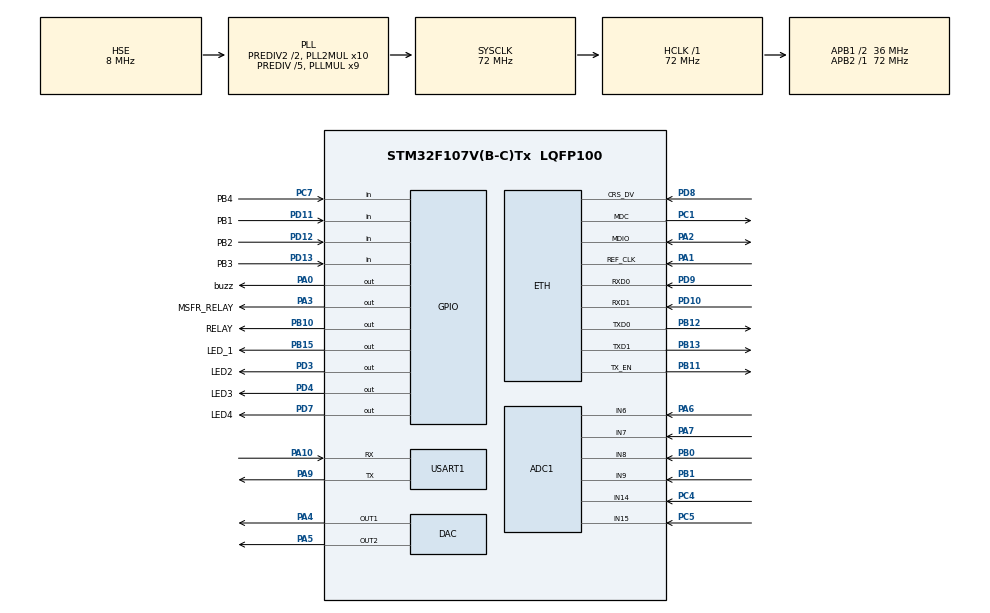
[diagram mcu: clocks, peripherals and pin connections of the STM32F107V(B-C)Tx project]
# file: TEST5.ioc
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ADC1.Channel-0\#ChannelRegularConversion=ADC_CHANNEL_6
ADC1.Channel-1\#ChannelRegularConversion=ADC_CHANNEL_7
ADC1.Channel-2\#ChannelRegularConversion=ADC_CHANNEL_14
ADC1.Channel-3\#ChannelRegularConversion=ADC_CHANNEL_15
ADC1.Channel-4\#ChannelRegularConversion=ADC_CHANNEL_8
ADC1.Channel-5\#ChannelRegularConversion=ADC_CHANNEL_9
ADC1.NbrOfConversion=6
ADC1.NbrOfConversionFlag=1
ADC1.Rank-0\#ChannelRegularConversion=1
ADC1.Rank-1\#ChannelRegularConversion=2
ADC1.Rank-2\#ChannelRegularConversion=3
ADC1.Rank-3\#ChannelRegularConversion=4
ADC1.Rank-4\#ChannelRegularConversion=5
ADC1.Rank-5\#ChannelRegularConversion=6
ADC1.SamplingTime-0\#ChannelRegularConversion=ADC_SAMPLETIME_55CYCLES_5
ADC1.SamplingTime-1\#ChannelRegularConversion=ADC_SAMPLETIME_55CYCLES_5
ADC1.SamplingTime-2\#ChannelRegularConversion=ADC_SAMPLETIME_55CYCLES_5
ADC1.SamplingTime-3\#ChannelRegularConversion=ADC_SAMPLETIME_55CYCLES_5
ADC1.SamplingTime-4\#ChannelRegularConversion=ADC_SAMPLETIME_55CYCLES_5
ADC1.SamplingTime-5\#ChannelRegularConversion=ADC_SAMPLETIME_55CYCLES_5
ADC1.master=1
ETH.MediaInterface=ETH_MEDIA_INTERFACE_RMII
ETH.PHY_Name_RMII=DP83848_PHY_ADDRESS
ETH.PhyAddress=0
LWIP.GATEWAY_ADDRESS=192.168.001.001
LWIP.IP_ADDRESS=192.168.001.054
LWIP.LWIP_DHCP=0
LWIP.NETMASK_ADDRESS=255.255.255.000
LWIP.Version=v2.0.3_Cube
Mcu.Family=STM32F1
Mcu.Name=STM32F107V(B-C)Tx
Mcu.Package=LQFP100
NVIC.PriorityGroup=NVIC_PRIORITYGROUP_4
OSC_IN.Mode=HSE-External-Oscillator
OSC_IN.Signal=RCC_OSC_IN
OSC_OUT.Mode=HSE-External-Oscillator
OSC_OUT.Signal=RCC_OSC_OUT
PA0-WKUP.GPIO_Label=buzz
PA0-WKUP.Signal=GPIO_Output
PA1.Mode=RMII
PA1.Signal=ETH_REF_CLK
PA10.Mode=Asynchronous
PA10.Signal=USART1_RX
PA13.Mode=Serial_Wire
PA13.Signal=SYS_JTMS-SWDIO
PA14.Mode=Serial_Wire
PA14.Signal=SYS_JTCK-SWCLK
PA2.Mode=RMII
PA2.Signal=ETH_MDIO
PA3.GPIO_Label=MSFR_RELAY
PA3.Signal=GPIO_Output
PA4.Signal=COMP_DAC1_group
PA5.Signal=COMP_DAC2_group
PA6.Signal=ADCx_IN6
PA7.Signal=ADCx_IN7
PA9.Mode=Asynchronous
PA9.Signal=USART1_TX
PB0.Signal=ADCx_IN8
PB1.Signal=ADCx_IN9
PB10.GPIO_Label=RELAY
PB10.Signal=GPIO_Output
PB11.Mode=RMII
PB11.Signal=ETH_TX_EN
PB12.Mode=RMII
PB12.Signal=ETH_TXD0
PB13.Mode=RMII
PB13.Signal=ETH_TXD1
PB15.GPIO_Label=LED_1
PB15.GPIO_ModeDefaultOutputPP=GPIO_MODE_OUTPUT_PP
PB15.GPIO_PuPd=GPIO_NOPULL
PB15.GPIO_Speed=GPIO_SPEED_FREQ_LOW
PB15.PinState=GPIO_PIN_RESET
PB15.Signal=GPIO_Output
PC1.Mode=RMII
PC1.Signal=ETH_MDC
PC4.Signal=ADCx_IN14
PC5.Signal=ADCx_IN15
PC7.GPIO_Label=PB4
PC7.GPIO_Mode=GPIO_MODE_INPUT
PC7.GPIO_PuPd=GPIO_NOPULL
PC7.Signal=GPIO_Input
PD10.Mode=RMII
PD10.Signal=ETH_RXD1
PD11.GPIO_Label=PB1
PD11.GPIO_Mode=GPIO_MODE_INPUT
PD11.GPIO_PuPd=GPIO_NOPULL
PD11.Signal=GPIO_Input
PD12.GPIO_Label=PB2
PD12.GPIO_Mode=GPIO_MODE_INPUT
PD12.GPIO_PuPd=GPIO_NOPULL
PD12.Signal=GPIO_Input
PD13.GPIO_Label=PB3
PD13.GPIO_Mode=GPIO_MODE_INPUT
PD13.GPIO_PuPd=GPIO_NOPULL
PD13.Signal=GPIO_Input
PD3.GPIO_Label=LED2
PD3.GPIO_ModeDefaultOutputPP=GPIO_MODE_OUTPUT_PP
PD3.GPIO_PuPd=GPIO_NOPULL
PD3.GPIO_Speed=GPIO_SPEED_FREQ_LOW
PD3.PinState=GPIO_PIN_RESET
PD3.Signal=GPIO_Output
PD4.GPIO_Label=LED3
PD4.GPIO_ModeDefaultOutputPP=GPIO_MODE_OUTPUT_PP
PD4.GPIO_PuPd=GPIO_NOPULL
PD4.GPIO_Speed=GPIO_SPEED_FREQ_LOW
PD4.PinState=GPIO_PIN_RESET
PD4.Signal=GPIO_Output
PD7.GPIO_Label=LED4
PD7.GPIO_ModeDefaultOutputPP=GPIO_MODE_OUTPUT_PP
PD7.GPIO_PuPd=GPIO_NOPULL
PD7.GPIO_Speed=GPIO_SPEED_FREQ_LOW
PD7.PinState=GPIO_PIN_RESET
PD7.Signal=GPIO_Output
PD8.Mode=RMII
PD8.Signal=ETH_CRS_DV
PD9.Mode=RMII
PD9.Signal=ETH_RXD0
ProjectManager.HeapSize=0x400
ProjectManager.StackSize=0x400
ProjectManager.TargetToolchain=STM32CubeIDE
RCC.ADCPresc=RCC_ADCPCLK2_DIV6
RCC.AHBFreq_Value=72000000
RCC.APB1CLKDivider=RCC_HCLK_DIV2
RCC.APB1Freq_Value=36000000
RCC.APB1TimFreq_Value=72000000
RCC.APB2Freq_Value=72000000
RCC.APB2TimFreq_Value=72000000
RCC.EnbaleCSS=true
RCC.HCLKFreq_Value=72000000
RCC.HSEDivPLL=RCC_HSE_PREDIV_DIV5
RCC.PLL2Mul=RCC_PLL2_MUL10
RCC.PLLMUL=RCC_PLL_MUL9
RCC.PLLSourceVirtual=RCC_PLLSOURCE_HSE
RCC.Prediv1Source=RCC_PREDIV1_SOURCE_PLL2
RCC.Prediv2=RCC_HSE_PREDIV2_DIV2
RCC.SYSCLKFreq_VALUE=72000000
RCC.SYSCLKSource=RCC_SYSCLKSOURCE_PLLCLK
RCC.USBFreq_Value=48000000
SH.ADCx_IN14.0=ADC1_IN14,IN14
SH.ADCx_IN15.0=ADC1_IN15,IN15
SH.ADCx_IN6.0=ADC1_IN6,IN6
SH.ADCx_IN7.0=ADC1_IN7,IN7
SH.ADCx_IN8.0=ADC1_IN8,IN8
SH.ADCx_IN9.0=ADC1_IN9,IN9
SH.COMP_DAC1_group.0=DAC_OUT1,DAC_OUT1
SH.COMP_DAC2_group.0=DAC_OUT2,DAC_OUT2
USART1.VirtualMode=VM_ASYNC
VP_LWIP_VS_Enabled.Mode=Enabled
board=custom

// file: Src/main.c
/* USER CODE BEGIN Header */
/**
  ******************************************************************************
  * @file           : main.c
  * @brief          : Main program body
  ******************************************************************************
  * @attention
  *
  * <h2><center>&copy; Copyright (c) 2020 STMicroelectronics.
  * All rights reserved.</center></h2>
  *
  * This software component is licensed by ST under Ultimate Liberty license
  * SLA0044, the "License"; You may not use this file except in compliance with
  * the License. You may obtain a copy of the License at:
  *                             www.st.com/SLA0044
  *
  ******************************************************************************
  */
/* USER CODE END Header */
#include "main.h"
#include "adc.h"
#include "dac.h"
#include "lwip.h"
#include "usart.h"
#include "gpio.h"

/* USER CODE BEGIN Includes */
#include "tcp.h"
#include "string.h"
#include "stdbool.h"

uint16_t k=0 ,i=0,j=0,j1=0;
bool _even;
bool flag_run_loop = false;
bool flag_exit_loop = false;
uint16_t xs = 0;
uint16_t xe = 0;
uint16_t ys = 0;
uint16_t ye = 0;
uint16_t sx = 0;
uint16_t sy = 0;
uint16_t dly = 0;
uint16_t loop = 0;

/* USER CODE END Includes */

/* USER CODE BEGIN PD */
#define KEYDEBOUNCE  	20
#define MAXDATALEN 		10
#define LED1_ON  			'1'
#define LED2_ON				'2'
#define LED3_ON				'3'
#define LED4_ON				'4'
#define LED1_OFF			'5'
#define LED2_OFF			'6'
#define LED3_OFF			'7'
#define LED4_OFF			'8'
#define GET_PB1				'9'
#define  tcp_listen(pcb)
/* USER CODE END PD */

/* USER CODE BEGIN PM */
void server_init				(u16_t port);
void 	server_conn_err		(void *arg, err_t err);
//err_t server_recv(void *arg, struct tcp_pcb *pcb, struct pbuf *p, err_t err);
err_t server_tcp_recv_null(void *arg, struct tcp_pcb *pcb, struct pbuf *p, err_t err);
//err_t server_tcp_accept_null(void *arg, struct tcp_pcb *pcb, err_t err);
err_t server_tcp_accept	(void *arg, struct tcp_pcb *pcb, err_t err);
char 	get_key_state			(void);
extern __IO uint32_t uwTick;

/* USER CODE END PM */

/* USER CODE BEGIN PV */

#ifdef __GNUC__
  #define PUTCHAR_PROTOTYPE int __io_putchar(int ch)
  #else
  #define PUTCHAR_PROTOTYPE int fputc(int ch,FILE *f)
  #endif

  PUTCHAR_PROTOTYPE
  {//                        "SALAM"       5 100
  HAL_UART_Transmit(&huart1,(uint8_t*)&ch,1,100);

    return ch;

  }

uint8_t Hi_byte(uint16_t i );
uint8_t Lo_byte(uint16_t i );

// O/P Voltage = (Reference Voltage / Resolution) x Digital Value
void set_voltage_on_dax_X (float milivoltage)
{

	uint16_t dig_val = (uint16_t)  (milivoltage / (Reference_Voltage / Resolution));

	HAL_DAC_SetValue(&hdac, DAC_CH_X, DAC_ALIGN_12B_R, dig_val);
	printf("milivoltage=%d,dig_val=%d",milivoltage,dig_val);

}
void set_voltage_on_dax_Y (float milivoltage)
{

	uint16_t dig_val = (uint16_t)  (milivoltage / (Reference_Voltage / Resolution));

	HAL_DAC_SetValue(&hdac, DAC_CH_Y, DAC_ALIGN_12B_R, dig_val);
	printf("milivoltage=%d,dig_val=%d",milivoltage,dig_val);

}
//milivolt = (dig_val * Reference_Voltage)/Resolution = >> { Reference_Voltage=3300 , Resolution(12bit)=4096 } => milivolt = dig_val * 0.80

//-------------------------------------------------------------------------------------------
uint16_t get_adc_raw(int chanel)
{

	uint16_t digital_result=0;

	if(chanel==READ_ADC_CH_HV_PDUCL_PX)
	{

			hadc1.Init.NbrOfConversion=READ_ADC_CH_HV_PDUCL_PX;// READ PIN 31 // ADC1_IN6
			HAL_ADC_Init(&hadc1);
			HAL_ADC_Start(&hadc1);
			if(HAL_ADC_PollForConversion(&hadc1,500)== HAL_OK)
			{

			digital_result=HAL_ADC_GetValue(&hadc1);

			}
			HAL_ADC_Stop(&hadc1);

	}

	else if(chanel==READ_ADC_CH_HV_PDUCL_PY)// // READ PIN 31 // ADC1_IN7
	{

				hadc1.Init.NbrOfConversion=READ_ADC_CH_HV_PDUCL_PY;//
				HAL_ADC_Init(&hadc1);
				HAL_ADC_Start(&hadc1);
				if(HAL_ADC_PollForConversion(&hadc1,500)== HAL_OK)
				{

				digital_result=HAL_ADC_GetValue(&hadc1);

				}
				HAL_ADC_Stop(&hadc1);

	}
	else if(chanel==READ_ADC_SENS1)
	{

			hadc1.Init.NbrOfConversion=READ_ADC_SENS1;//ch2
			HAL_ADC_Init(&hadc1);
			HAL_ADC_Start(&hadc1);
			if(HAL_ADC_PollForConversion(&hadc1,500)== HAL_OK)
			{

			digital_result=HAL_ADC_GetValue(&hadc1);

			}
			HAL_ADC_Stop(&hadc1);

	}

	else  if(chanel== READ_ADC_SENS2)//
	{

			hadc1.Init.NbrOfConversion=READ_ADC_SENS2;
			HAL_ADC_Init(&hadc1);
			HAL_ADC_Start(&hadc1);
			if(HAL_ADC_PollForConversion(&hadc1,500)== HAL_OK)
			{

			digital_result=HAL_ADC_GetValue(&hadc1);

			}
			HAL_ADC_Stop(&hadc1);

	}

	else  if(chanel== READ_ADC_CH_HV_PDU_MX)// ADC1_IN14 //PIN 33 //
	{

			hadc1.Init.NbrOfConversion=READ_ADC_CH_HV_PDU_MX;
			HAL_ADC_Init(&hadc1);
			HAL_ADC_Start(&hadc1);
			if(HAL_ADC_PollForConversion(&hadc1,500)== HAL_OK)
			{

			digital_result=HAL_ADC_GetValue(&hadc1);

			}
			HAL_ADC_Stop(&hadc1);

	}
	else  if(chanel== READ_ADC_CH_HV_PDU_MY)//ADC1_IN15
	{

			hadc1.Init.NbrOfConversion=READ_ADC_CH_HV_PDU_MY;
			HAL_ADC_Init(&hadc1);
			HAL_ADC_Start(&hadc1);
			if(HAL_ADC_PollForConversion(&hadc1,500)== HAL_OK)
			{

			digital_result=HAL_ADC_GetValue(&hadc1);

			}
			HAL_ADC_Stop(&hadc1);

	}

	return digital_result;

}

/* USER CODE END PV */

void SystemClock_Config(void);

int main(void)
{

  /* MCU Configuration--------------------------------------------------------*/

  /* Reset of all peripherals, Initializes the Flash interface and the Systick. */
  HAL_Init();

  /* Configure the system clock */
  SystemClock_Config();

  /* Initialize all configured peripherals */
  MX_GPIO_Init();
  MX_LWIP_Init();
  MX_ADC1_Init();
  MX_DAC_Init();
  MX_USART1_UART_Init();
  /* USER CODE BEGIN 2 */

  SET_BUZZ(0)  ;
  HAL_Delay(300);
  SET_BUZZ(1)  ;
  HAL_Delay(300);

  server_init(1000);

  //RELAY_USER_INT(1) ;
  PDU_POWER(0)  ;
  //RELAY_USER_INT(1) ;
  printf("hiiii\nstarted\n");

    HAL_DAC_Start(&hdac, DAC_CH_X);
    HAL_DAC_Start(&hdac, DAC_CH_Y);

	HAL_DAC_SetValue(&hdac, DAC_CH_X, DAC_ALIGN_12B_R, 255);

	HAL_DAC_SetValue(&hdac, DAC_CH_Y, DAC_ALIGN_12B_R, 255);

	printf("dac=128\n");

	HAL_Delay(2000);

	//PDU_POWER(0)  ;
   // RELAY_USER_INT(0) ;

            printf(" PDUCL_PX=%4.2fV\n PDUCL_PY=%4.2fV\n SENS1=%4.2fV\n SENS2=%4.2fV\nPDU_MX=%4.2fV\n PDU_MY=%4.2fV\n \n\n",
             ((float)get_adc_raw( READ_ADC_CH_HV_PDUCL_PX  )*3.30)/4096.0     ,
			 ((float)get_adc_raw( READ_ADC_CH_HV_PDUCL_PY  )*3.30)/4096.0     ,
			 ((float)get_adc_raw( READ_ADC_SENS1        )*3.30)/4096.0     ,
			 ((float)get_adc_raw( READ_ADC_SENS2        )*3.30)/4096.0     ,
			 ((float)get_adc_raw( READ_ADC_CH_HV_PDU_MX    )*3.30)/4096.0     ,
			 ((float)get_adc_raw( READ_ADC_CH_HV_PDU_MY    )*3.30)/4096.0     );

            float cof=18.2;

  /* USER CODE END 2 */

  /* Infinite loop */
  /* USER CODE BEGIN WHILE */
  while (1)
  {

	  LED_TOGG;
	  HAL_Delay(300);
printf(" PDUCL_PX=%4.2fV\n PDUCL_PY=%4.2fV\n SENS1=%4.2fV\n SENS2=%4.2fV\n PDU_MX=%4.2fV\n PDU_MY=%4.2fV\n----\n",
((float)get_adc_raw( READ_ADC_CH_HV_PDUCL_PX  )*3.30)/4096.0     ,
((float)get_adc_raw( READ_ADC_CH_HV_PDUCL_PY  )*3.30)/4096.0     ,
((float)get_adc_raw( READ_ADC_SENS1        )*3.30)/4096.0     ,
((float)get_adc_raw( READ_ADC_SENS2        )*3.30)/4096.0     ,
((float)get_adc_raw( READ_ADC_CH_HV_PDU_MX    )*3.30)/4096.0     ,
((float)get_adc_raw( READ_ADC_CH_HV_PDU_MY    )*3.30)/4096.0     );

/*

	  HAL_DAC_SetValue(&hdac, DAC_CH_X, DAC_ALIGN_12B_R, 0);
	  HAL_DAC_SetValue(&hdac, DAC_CH_Y, DAC_ALIGN_12B_R, 0);
	  printf(" PDUCL_PX=%4.2fV\n PDUCL_PY=%4.2fV\n S_CURRENT=%4.2fV\n PDU_MX=%4.2fV\n PDU_MY=%4.2fV\n \n\n",
	 	  	             ( ((float)get_adc_raw( READ_ADC_CH_HV_PDUCL_PX   )*3.30)/4096.0 )*cof     ,
	 	  	 			 ( ((float)get_adc_raw( READ_ADC_CH_HV_PDUCL_PY   )*3.30)/4096.0 )*cof     ,
	 	  	 			 ( ((float)get_adc_raw( READ_ADC_CH_S_CURRENT     )*3.30)/4096.0 )*cof     ,
	 	  	 			 ( ((float)get_adc_raw( READ_ADC_CH_HV_PDU_MX     )*3.30)/4096.0 )*cof     ,
	 	  	 			 ( ((float)get_adc_raw( READ_ADC_CH_HV_PDU_MY     )*3.30)/4096.0 )*cof     );
	  HAL_Delay(5000);

	  HAL_DAC_SetValue(&hdac, DAC_CH_X, DAC_ALIGN_12B_R, 4095  );
	  HAL_DAC_SetValue(&hdac, DAC_CH_Y, DAC_ALIGN_12B_R, 4095);
	  printf(" PDUCL_PX=%4.2fV\n PDUCL_PY=%4.2fV\n S_CURRENT=%4.2fV\n PDU_MX=%4.2fV\n PDU_MY=%4.2fV\n \n\n",
	  	             ( ((float)get_adc_raw( READ_ADC_CH_HV_PDUCL_PX   )*3.30)/4096.0 )*cof     ,
	  	 			 ( ((float)get_adc_raw( READ_ADC_CH_HV_PDUCL_PY   )*3.30)/4096.0 )*cof     ,
	  	 			 ( ((float)get_adc_raw( READ_ADC_CH_S_CURRENT     )*3.30)/4096.0 )*cof     ,
	  	 			 ( ((float)get_adc_raw( READ_ADC_CH_HV_PDU_MX     )*3.30)/4096.0 )*cof     ,
	  	 			 ( ((float)get_adc_raw( READ_ADC_CH_HV_PDU_MY     )*3.30)/4096.0 )*cof     );
	  HAL_Delay(5000);

	      HAL_DAC_SetValue(&hdac, DAC_CH_X, DAC_ALIGN_12B_R, 2048  );
	 	  HAL_DAC_SetValue(&hdac, DAC_CH_Y, DAC_ALIGN_12B_R, 2048);
	 	  printf(" PDUCL_PX=%4.2fV\n PDUCL_PY=%4.2fV\n S_CURRENT=%4.2fV\n PDU_MX=%4.2fV\n PDU_MY=%4.2fV\n \n\n",
	 	  	             ( ((float)get_adc_raw( READ_ADC_CH_HV_PDUCL_PX   )*3.30)/4096.0 )*cof     ,
	 	  	 			 ( ((float)get_adc_raw( READ_ADC_CH_HV_PDUCL_PY   )*3.30)/4096.0 )*cof     ,
	 	  	 			 ( ((float)get_adc_raw( READ_ADC_CH_S_CURRENT     )*3.30)/4096.0 )*cof     ,
	 	  	 			 ( ((float)get_adc_raw( READ_ADC_CH_HV_PDU_MX     )*3.30)/4096.0 )*cof     ,
	 	  	 			 ( ((float)get_adc_raw( READ_ADC_CH_HV_PDU_MY     )*3.30)/4096.0 )*cof     );
	 	  HAL_Delay(5000);

*/
//
//	  printf(" PDUCL_PX=%d\n PDUCL_PY=%d\n S_CURRENT=%d\n PDU_MX=%d\n PDU_MY=%d\n \n\n",
//	     		get_adc_raw( READ_ADC_CH_HV_PDUCL_PX ) ,
//	 			get_adc_raw( READ_ADC_CH_HV_PDUCL_PY ) ,
//	 			get_adc_raw( READ_ADC_CH_S_CURRENT ) ,
//	 			get_adc_raw( READ_ADC_CH_HV_PDU_MX),
//	 			get_adc_raw( READ_ADC_CH_HV_PDU_MY)   );

	  if(flag_run_loop)
	  {
		  flag_run_loop=false;

		  for(k=0 ; k <= loop ; k++ )
		  {
			  _even = true;
			   for (i = xs ; i <= xe ; i = i + sx)
			   {

				   _even = !_even;
				 for (j = ys ; j <= ye ; j = j + sy)
				 {
					   if (_even)
					   {
						 j1 = ye + ys - j;
					   }
					   else
					   {
						 j1 = j;
					   }

					    HAL_DAC_SetValue(&hdac, DAC_CH_X , DAC_ALIGN_12B_R ,  i);
					    HAL_DAC_SetValue(&hdac, DAC_CH_Y , DAC_ALIGN_12B_R ,  j1);

					   printf("\nx = %d  \ny = %d\n", i , j1 );

					   /*
					   Serial.print("x = ");
					   Serial.println(i);
					   Serial.print("y = ");
					   Serial.println(j1);
					   digitalWrite(7, HIGH);
					   dac.begin(0x60);
					   dac.setVoltage(i, false);
					   dac.begin(0x61);
					   dac.setVoltage(j1, false);
					   */
					   MX_LWIP_Process();

					   if(flag_exit_loop) break;

				       HAL_Delay(dly);

				   //--------
				 }

				 if(flag_exit_loop) break;

				 //--------
			   }

			   if(flag_exit_loop) break;
			 }//foor k loop

	  }  //if

    /* USER CODE END WHILE */

    /* USER CODE BEGIN 3 */
	  MX_LWIP_Process();
  }
  /* USER CODE END 3 */
}

void SystemClock_Config(void)
{
  RCC_OscInitTypeDef RCC_OscInitStruct = {0};
  RCC_ClkInitTypeDef RCC_ClkInitStruct = {0};
  RCC_PeriphCLKInitTypeDef PeriphClkInit = {0};

  /** Initializes the RCC Oscillators according to the specified parameters
  * in the RCC_OscInitTypeDef structure.
  */
  RCC_OscInitStruct.OscillatorType = RCC_OSCILLATORTYPE_HSE;
  RCC_OscInitStruct.HSEState = RCC_HSE_ON;
  RCC_OscInitStruct.HSEPredivValue = RCC_HSE_PREDIV_DIV5;
  RCC_OscInitStruct.HSIState = RCC_HSI_ON;
  RCC_OscInitStruct.Prediv1Source = RCC_PREDIV1_SOURCE_PLL2;
  RCC_OscInitStruct.PLL.PLLState = RCC_PLL_ON;
  RCC_OscInitStruct.PLL.PLLSource = RCC_PLLSOURCE_HSE;
  RCC_OscInitStruct.PLL.PLLMUL = RCC_PLL_MUL9;
  RCC_OscInitStruct.PLL2.PLL2State = RCC_PLL2_ON;
  RCC_OscInitStruct.PLL2.PLL2MUL = RCC_PLL2_MUL10;
  RCC_OscInitStruct.PLL2.HSEPrediv2Value = RCC_HSE_PREDIV2_DIV2;
  if (HAL_RCC_OscConfig(&RCC_OscInitStruct) != HAL_OK)
  {
    Error_Handler();
  }
  /** Initializes the CPU, AHB and APB buses clocks
  */
  RCC_ClkInitStruct.ClockType = RCC_CLOCKTYPE_HCLK|RCC_CLOCKTYPE_SYSCLK
                              |RCC_CLOCKTYPE_PCLK1|RCC_CLOCKTYPE_PCLK2;
  RCC_ClkInitStruct.SYSCLKSource = RCC_SYSCLKSOURCE_PLLCLK;
  RCC_ClkInitStruct.AHBCLKDivider = RCC_SYSCLK_DIV1;
  RCC_ClkInitStruct.APB1CLKDivider = RCC_HCLK_DIV2;
  RCC_ClkInitStruct.APB2CLKDivider = RCC_HCLK_DIV1;

  if (HAL_RCC_ClockConfig(&RCC_ClkInitStruct, FLASH_LATENCY_2) != HAL_OK)
  {
    Error_Handler();
  }
  PeriphClkInit.PeriphClockSelection = RCC_PERIPHCLK_ADC;
  PeriphClkInit.AdcClockSelection = RCC_ADCPCLK2_DIV6;
  if (HAL_RCCEx_PeriphCLKConfig(&PeriphClkInit) != HAL_OK)
  {
    Error_Handler();
  }
  /** Enables the Clock Security System
  */
  HAL_RCC_EnableCSS();
  /** Configure the Systick interrupt time
  */
  __HAL_RCC_PLLI2S_ENABLE();
}

/* USER CODE BEGIN 4 */
/**
  * @brief  Called when a data is received on the server connection
  * @param  arg	the user argument
  * @param  pcb	the tcp_pcb that has received the data
  * @param  p	the packet buffer
  * @param  err	the error value linked with the received data
  * @retval error value
  */
err_t server_recv(void *arg, struct tcp_pcb *pcb, struct pbuf *p, err_t err)
{

  char *c;
  int i;
	char data_read[200]={0,0,0,0};
	char data_send[200]={0,0,0,0};

/* We perform here any necessary processing on the pbuf */
if (p != NULL)
{
	/* We call this function to tell the LwIp that we have processed the data */
	/* This lets the stack advertise a larger window, so more data can be received*/
	tcp_recved(pcb, p->tot_len);

	c = p->payload;

	for( i = 0 ; i < p->len ; i++)
    {
	  data_read[i] = c[i];
	}

	 tcp_write(pcb , data_read , p->len , 1);
	 pbuf_free(p);

//	p->payload=0;
//	p->tot_len=0;

//HAL_Delay(100);
if(data_read[0] == 0x7E)
{

	        printf("get command,len data=%d\n",p->len);

			if(data_read[1] == 0xBC)  //READ COMMAND
			{
				  k=0 ; i=0 ; j=0 ; j1=0;

				  xs =  (data_read[2]<<8 ) | data_read[3] ;
				  xe =  (data_read[4]<<8 ) | data_read[5] ;

				  ys =  (data_read[6]<<8 ) | data_read[7] ;
				  ye =  (data_read[8]<<8 ) | data_read[9] ;

				  sx =  (data_read[6]<<8 ) | data_read[7] ;
				  sy =  (data_read[8]<<8 ) | data_read[9] ;

				  dly  = (data_read[10]<<8 ) | data_read[11] ;

				  loop = (data_read[12]<<8 ) | data_read[13] ;

			    printf("\nxs=%d,xe=%d,ys=%d,ye=%d,sx=%d,sy=%d,delay=%d,loop=%d\n",xs,xe,ys,ye,sx,sy,dly,loop);
			    flag_exit_loop=false;

			    flag_run_loop=true;

			}
			if(data_read[1] == 0xBB)  //stop loop COMMAND
			{
				flag_exit_loop=true;

			}
			if(data_read[1] == 0xBD)  //RUN loop COMMAND
			{
				flag_run_loop=true;
				flag_exit_loop=false;
			}

			if(data_read[1] == 0x0D)//READ COMMAND
			{

					if(data_read[2] == 0x1D)	//READ PDU X+ VAL  mv
					{
						uint16_t val = get_adc_raw(READ_ADC_CH_HV_PDUCL_PX) ;
						uint8_t res[7] = "___";
						res[0] = 0x7E;
						res[1] = 0X0D;
						res[2] = 0X1D;
						res[3] = Hi_byte(val);
						res[4] = Lo_byte(val);
						tcp_write(pcb , res , 5 , 1);
						printf("READ PDUCL->x+ =%d\n" , val);

					}
					else if(data_read[2] == 0x2D)	//READ PDU Y+ VAL mv
					{
						uint16_t val = get_adc_raw(READ_ADC_CH_HV_PDUCL_PY);
						uint8_t res[7] = "___";
						res[0] = 0x7E;
						res[1] = 0X0D;
						res[2] = 0X2D;
						res[3] = Hi_byte(val);
						res[4] = Lo_byte(val);
						tcp_write(pcb , res , 5 , 1);
						printf("READ PDUCL->y+ =%d\n",val);
					}
					if(data_read[2] == 0x3D)	//READ PDU X- VAL  mv
					{
						uint16_t val = get_adc_raw(READ_ADC_CH_HV_PDU_MX);
						uint8_t res[7] = "___";
						res[0] = 0x7E;
						res[1] = 0X0D;
						res[2] = 0X3D;
						res[3] = Hi_byte(val);
						res[4] = Lo_byte(val);
						tcp_write(pcb , res , 5 , 1);
						printf("READ PDU->x- =%d\n",val);

					}
					else if(data_read[2] == 0x4D)	//READ PDU Y- VAL mv
					{
						uint16_t val = get_adc_raw(READ_ADC_CH_HV_PDU_MY);
						uint8_t res[7] = "___";
						res[0] = 0x7E;
						res[1] = 0X0D;
						res[2] = 0X4D;
						res[3] = Hi_byte(val);
						res[4] = Lo_byte(val);
						tcp_write(pcb , res , 5 , 1);
						printf("READ PDU->y- =%d\n",val);
					}

					if(data_read[2] == 0x5D)	//READ PDU X- VAL  mv
					{
						uint16_t val = get_adc_raw(READ_ADC_SENS1);
						uint8_t res[7] = "___";
						res[0] = 0x7E;
						res[1] = 0X0D;
						res[2] = 0X3D;
						res[3] = Hi_byte(val);
						res[4] = Lo_byte(val);
						tcp_write(pcb , res , 5 , 1);
						printf("READ_ADC_SENS CL1->x- =%d\n",val);

					}
					else if(data_read[2] == 0x6D)	//READ PDU Y- VAL mv
					{
						uint16_t val = get_adc_raw(READ_ADC_SENS2);
						uint8_t res[7] = "___";
						res[0] = 0x7E;
						res[1] = 0X0D;
						res[2] = 0X4D;
						res[3] = Hi_byte(val);
						res[4] = Lo_byte(val);
						tcp_write(pcb , res , 5 , 1);
						printf("READ_ADC_SENS CL2->y- =%d\n",val);
					}

			}
			if(data_read[1]==0x0F)//SET x y value COMMAND
			{

					if(data_read[2]==0x1F)	//SET PDU X+ VAL  mv
					{
						uint16_t val =  (data_read[3]<<8 ) | data_read[4] ;
						HAL_DAC_SetValue(&hdac, DAC_CH_X , DAC_ALIGN_12B_R ,  val);
						uint8_t res[7] = "___";
						res[0] = 0x7E;
						res[1] = 0x0F;
						res[2] = 0x1F;
						res[3]=(uint8_t)val>>8;
						res[4]=(uint8_t)val;
						tcp_write(pcb , res , 5 , 1);
						printf("SET PDU-x val=%d\n",  val);
						//printf("repund=%X",);
					}
					else if(data_read[2]==0x2F)	//SET PDU Y+ VAL mv
					{
						uint16_t val =  (data_read[3]<<8 ) | data_read[4] ;
						HAL_DAC_SetValue(&hdac, DAC_CH_Y , DAC_ALIGN_12B_R , val);
						uint8_t res[7] = "___";
						res[0] = 0x7E;
						res[1] = 0x0F;
						res[2] = 0x2F;
						res[3]=(uint8_t)val>>8;
						res[4]=(uint8_t)val;
						tcp_write(pcb , res , 5 , 1);
						printf("SET PDU-y val=%d\n",  val);
					}

			}

			else if(data_read[1]==0xAA)//pdu power on off
			{

					if(data_read[2]==0x1A)//pdu power   off
					{
						PDU_POWER(1)  ;
						uint8_t res[7]={0x7E,0XAA,0X0A,0X00,0X00};
						tcp_write(pcb , res , 5 , 1);
						printf("relay  pdu off\n");
					}
					if(data_read[2]==0x0A)//pdu power on
					{
						PDU_POWER(0)  ;
						uint8_t res[7]={0x7E,0XAA,0X1A,0X00,0X00};
						tcp_write(pcb , res , 5 , 1);
						printf("relay pdu on \n");
					}

			}

			else if(data_read[1]==0xC0)
			{

					if(data_read[2]==0xC1)//pdu set internal
					{
						RELAY_USER_INT(0)  ;
						uint8_t res[7]={0x7E,0XC0,0XC1,0X00,0X00};
						tcp_write(pcb , res , 5 , 1);
						printf("relay set on internal on \n");
					}
					if(data_read[2]==0xC2)//pdu set user
					{
						RELAY_USER_INT(1)  ;
						uint8_t res[7]={0x7E,0XC0,0XC2,0X00,0X00};
						tcp_write(pcb , res , 5 , 1);
						printf("relay set on external on \n");
					}

			}

	}
	else
	{
		switch (data_read[0])
		{
		  case LED1_ON:
				HAL_GPIO_WritePin(buzz_GPIO_Port,buzz_Pin,1);

				tcp_write(pcb,"buzz1_onn\n",10,1);
				HAL_Delay(100);
				break;
			case LED2_ON:
				HAL_GPIO_WritePin(buzz_GPIO_Port,buzz_Pin,0);
				tcp_write(pcb,"buzz1_off\n",10,1);
				HAL_Delay(100);
				break;
			case LED3_ON:
				HAL_GPIO_WritePin(LED3_GPIO_Port,LED3_Pin,1);
				break;
			case LED4_ON:
				HAL_GPIO_WritePin(LED4_GPIO_Port,LED4_Pin,1);
				break;
			case LED1_OFF:
				HAL_GPIO_WritePin(LED_1_GPIO_Port,LED_1_Pin,0);
				break;
			case LED2_OFF:
				HAL_GPIO_WritePin(LED2_GPIO_Port,LED2_Pin,0);
				break;
			case LED3_OFF:
				HAL_GPIO_WritePin(LED3_GPIO_Port,LED3_Pin,0);
				break;
			case LED4_OFF:
				HAL_GPIO_WritePin(LED4_GPIO_Port,LED4_Pin,0);
				break;
			case GET_PB1:
				sprintf(data_send,"%d",get_key_state());
			  tcp_write(pcb,data_send,strlen(data_send),1);
				break;
		}

  }//else

	/* End of processing, we free the pbuf */
 //   pbuf_free(p);
  }
  else if (err == ERR_OK)
  {
    /* When the pbuf is NULL and the err is ERR_OK, the remote end is closing the connection. */
    /* We close the connection */
    return tcp_close(pcb);
  }
  return ERR_OK;

}

/**
  * @brief  This function when the server connection is established
  * @param  arg  user supplied argument
  * @param  pcb	 the tcp_pcb which accepted the connection
  * @param  err	 error value
  * @retval ERR_OK
  */
err_t server_accept(void *arg, struct tcp_pcb *pcb, err_t err)
{
  /* Configure LwIP to use our call back functions. */
  tcp_err(pcb, server_conn_err);
  tcp_recv(pcb, server_recv);
  return ERR_OK;
}

/**
  * @brief  Initialize the server application
  * @param  None
  * @retval None
  */
void server_init(u16_t port)
{
  struct tcp_pcb *pcb;

  /* Create a new TCP control block  */
  pcb = tcp_new();

  /* Assign to the new pcb a local IP address and a port number */
  /* Using IP_ADDR_ANY allow the pcb to be used by any local interface */
  tcp_bind(pcb, IP_ADDR_ANY, port);

  /* Set the connection to the LISTEN state */
 // pcb = tcp_listen(pcb);
  pcb = tcp_listen_with_backlog(pcb);

  /* Specify the function to be called when a connection is established */
  tcp_accept(pcb, server_accept);

}

/**
  * @brief  This function is called when an error occurs on the connection
  * @param  arg
  * @parm   err
  * @retval None
  */
void server_conn_err(void *arg, err_t err)
{
  struct name *name;
  name = (struct name *)arg;

  mem_free(name);
}

char get_key_state(void)
{
 if(!HAL_GPIO_ReadPin(PB1_GPIO_Port,PB1_Pin))
	{
		HAL_Delay(KEYDEBOUNCE);
		if(!HAL_GPIO_ReadPin(PB1_GPIO_Port,PB1_Pin))
		{
		 while(!HAL_GPIO_ReadPin(PB1_GPIO_Port,PB1_Pin));

		 return 1;
		}
	}

  if(!HAL_GPIO_ReadPin(PB2_GPIO_Port,PB2_Pin))
	{
		HAL_Delay(KEYDEBOUNCE);
		if(!HAL_GPIO_ReadPin(PB2_GPIO_Port,PB2_Pin))
		{
		 while(!HAL_GPIO_ReadPin(PB2_GPIO_Port,PB2_Pin));
		 return 2;
		}
	}

  if(!HAL_GPIO_ReadPin(PB3_GPIO_Port,PB3_Pin))
	{
		HAL_Delay(KEYDEBOUNCE);
		if(!HAL_GPIO_ReadPin(PB3_GPIO_Port,PB3_Pin))
		{
		 while(!HAL_GPIO_ReadPin(PB3_GPIO_Port,PB3_Pin));
		 return 3;
		}
	}

  if(!HAL_GPIO_ReadPin(PB4_GPIO_Port,PB4_Pin))
	{
		HAL_Delay(KEYDEBOUNCE);
		if(!HAL_GPIO_ReadPin(PB4_GPIO_Port,PB4_Pin))
		{
		 while(!HAL_GPIO_ReadPin(PB4_GPIO_Port,PB4_Pin));
		 return 4;
		}
	}

  return 0;
}

uint8_t Hi_byte(uint16_t i )
{
	 uint8_t u81=0,u82=0;
	 u81 = i;
	 i>>=8;
	 u82 = i;
	 return u82;
 }

 uint8_t Lo_byte(uint16_t i )
 {
 	uint8_t u81=0,u82=0;
 	u81 = i;
 	i>>=8;
 	u82 = i;
 	return u81;
 }

/* USER CODE END 4 */

void Error_Handler(void)
{
}

/************************ (C) COPYRIGHT STMicroelectronics *****END OF FILE****/
